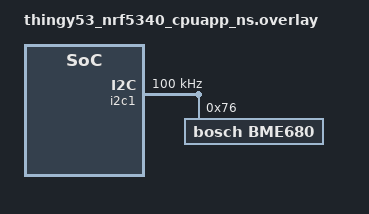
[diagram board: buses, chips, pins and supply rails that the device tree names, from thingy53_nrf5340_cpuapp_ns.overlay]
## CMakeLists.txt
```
cmake_minimum_required(VERSION 3.20.0)

find_package(Zephyr REQUIRED HINTS $ENV{ZEPHYR_BASE})
project(project_carl)

target_sources(app PRIVATE src/main.c)

target_sources_ifdef(CONFIG_BME688 app PRIVATE src/bme688_interface.c)
```

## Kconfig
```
source "Kconfig.zephyr"
config BME688
	bool "Enable bme688"
	default n 
```

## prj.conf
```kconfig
# enable I2C
CONFIG_I2C=y

# enable uart driver
CONFIG_SERIAL=y

# enable GPIO
CONFIG_GPIO=y

#enable logging
CONFIG_LOG=y

#enable printk
CONFIG_PRINTK=y

#enable floating point format
CONFIG_CBPRINTF_FP_SUPPORT=y

#enable sensor
CONFIG_SENSOR=y

##enable bme688
#CONFIG_BME688=y
```

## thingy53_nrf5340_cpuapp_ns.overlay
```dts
// To get started, press Ctrl+Space to bring up the completion menu and view the available nodes.

// You can also use the buttons in the sidebar to perform actions on nodes.
// Actions currently available include:

// * Enabling / disabling the node
// * Adding the bus to a bus
// * Removing the node
// * Connecting ADC channels

// For more help, browse the DeviceTree documentation at https://docs.zephyrproject.org/latest/guides/dts/index.html
// You can also visit the nRF DeviceTree extension documentation at https://nrfconnect.github.io/vscode-nrf-connect/devicetree/nrfdevicetree.html
&i2c1 {
        compatible = "nordic,nrf-twim";
        status = "okay";
    clock-frequency = <I2C_BITRATE_STANDARD>;

        bme688: bme688@76 {
                compatible = "bosch,bme680";
                reg = <0x76>;
                label = "BME680";
        };
};
```

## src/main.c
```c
/*******************************************************************
 * File: main.cpp
 * Author: Manideep Reddy Tamma
 * Date of creation: 2024-04-25
 * Description: Project Carl: Plant vital monitor, using arduino nRF SDK and Zypher RTOS.
*********************************************************************/
#include <zephyr/kernel.h>
#include <zephyr/device.h>
#include <zephyr/devicetree.h>
#include <zephyr/drivers/i2c.h>
#include <zephyr/logging/log.h>
#include <zephyr/sys/printk.h>

/* including private headers */
#include "bme688_reg.h"
#include "bme688_interface.c"

/* The code snippet */
/* 1000x30 = 30sec */
//#define SLEEP_TIME_MS	1000*2
// #define I2C_NODE DT_NODELABEL (bme688)

/*
 * Copyright (c) 2012-2014 Wind River Systems, Inc.
 *
 * SPDX-License-Identifier: Apache-2.0
 */

// #include <zephyr/drivers/sensor.h>

int main(void)
{
	// Configure I2C
	Configi2c();

	// Setup the Sensor
	EnvSensorConfig();

	// Read the sensor
	while (1)
	{
		printk("Main is running once every 2 sec\n\r");
		k_msleep(SLEEP_TIME_MS);
	}

	/*// Test example (start) //

	printk("BME68x Example Thingy:53! board configuration: %s\n", CONFIG_BOARD);

	const struct device *bme = DEVICE_DT_GET_ONE(bosch_bme680);
	struct sensor_value temp, press, humidity, gas_res;


	if (!device_is_ready(bme)) 
	{
		printk("sensor: device not ready.\n");
		return;
	}
	printk("Device %p name is %s\n", bme, bme->name);

	while (1) {
		k_sleep(K_MSEC(1000));

		sensor_sample_fetch(bme);
		sensor_channel_get(bme, SENSOR_CHAN_AMBIENT_TEMP, &temp);
		sensor_channel_get(bme, SENSOR_CHAN_PRESS, &press);
		sensor_channel_get(bme, SENSOR_CHAN_HUMIDITY, &humidity);
		sensor_channel_get(bme, SENSOR_CHAN_GAS_RES, &gas_res);

		printk("T: %d.%06d | P: %d.%06d | H: %d.%06d | G: %d.%06d\n",
				temp.val1, temp.val2, press.val1, press.val2,
				humidity.val1, humidity.val2, gas_res.val1,
				gas_res.val2);
	} 
	// Test example (End) // */
}
```

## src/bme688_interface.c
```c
/*******************************************************************
 * File: main.cpp
 * Author: Manideep Reddy Tamma
 * Date of creation: 2024-05-02
 * Description: C file for main.c in Project_Carl
*********************************************************************/
#include <zephyr/kernel.h>
#include <zephyr/device.h>
#include <zephyr/devicetree.h>
#include <zephyr/drivers/i2c.h>
#include <zephyr/logging/log.h>
#include <zephyr/sys/printk.h>

#include "bme688_reg.h"


void EnvSensorConfig(void)
{
   // ******************** /// Forced Mode /// ******************** //

    

    // set humidity oversampling
    // set temperature oversampling
    // set heat oversampling

    // select IIR filter for temperature sensor

    // select index of heater step

    // define heater-on time

    // set heater temperature

    // set mode to force mode
}


void EnvSensorRead(void)
{
    // declare the variables for incoming data

    // do a burst read of temperature
    // do a burst read of pressure
    // do a burst read of humidity (8s response time)    

    // print on terminal the values on floating point
}
```

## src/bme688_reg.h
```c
/*******************************************************************
 * File: bme688_reg.h
 * Author: Manideep Reddy Tamma
 * Date of creation: 2024-04-30
 * Description:  header file for bme688_interface
 * Reference for the BME688 sensor manufacturer document https://www.bosch-sensortec.com/media/boschsensortec/downloads/datasheets/bst-bme688-ds000.pdf
 *******************************************************************/


/*******************************************************************
 * defines
 *******************************************************************/
/* 1000 msec = 1 sec */
#define SLEEP_TIME_MS   1000*2

// Get the I2C Node identifier of the sensor
// #define I2C_NODE DT_NODELABEL (BME680)

// Sensor registers addresses and settings

// Control
#define BME688_STATUS            0x73
#define BME688_RESET             0xE0
#define BME688_CHIP_ID           0xD0
#define BME688_CONFIG            0x75
#define BME688_CTRL_MEAS         0x74   // Sensor power mode 1. 00 = sleep mode, 2. 01 = Forced mode, 3. 10 = Parallel mode.
#define BME688_CTRL_HUM          0x72   // Controls over sampling setting of humidity sensor 1. 000 = Skipped (out set to 0x8000), 2. 001 = Oversampling x 1, 3. 010 = x2, 4. 011 = x4, 5. 100 = x8, 6. 101,others = x16.
#define BME688_CTRL_GAS_1        0x71
#define BME688_CTRL_GAS_0        0x70
#define BME688_MEAS_STATUS_0     0x1D

// Read
#define BME688_HUM_LSB_0         0x26   // 16bit
#define BME688_HUM_MSB_0         0x25   // 8bit

#define BME688_TEMP_XLSB_0       0x24   // 20bit
#define BME688_TEMP_LSB_0        0x23   // 16bit
#define BME688_TEMP_MSB_0        0x22   // 8bit

#define BME688_PRESS_XLSB_0      0x21   // 20bit
#define BME688_PRESS_LSB_0       0x20   // 16bit
#define BME688_PRESS_MSB_0       0x1F   // 8bit



/*******************************************************************
 * Function Declarations
 *******************************************************************/
void EnvSensorConfig(void);
void EnvSensorRead(void);
```
